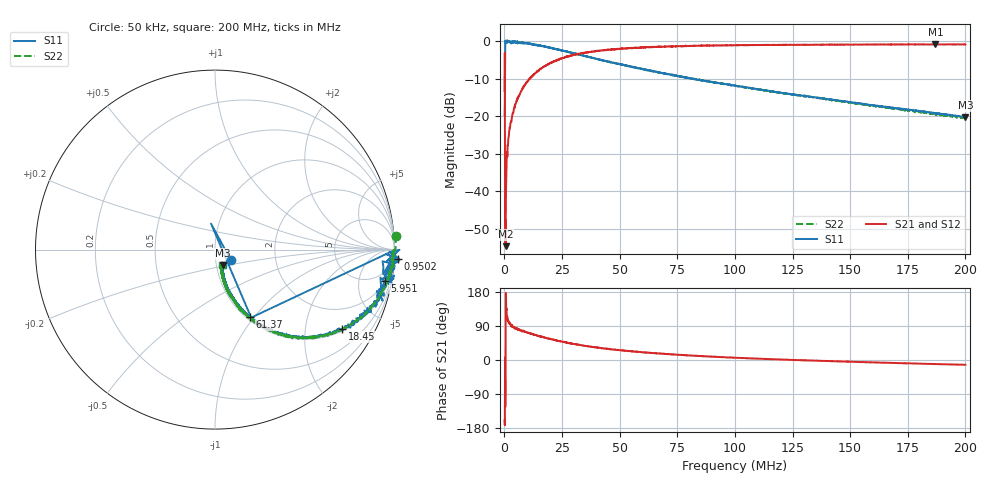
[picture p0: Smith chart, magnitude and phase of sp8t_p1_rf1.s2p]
! 26-Feb-26 11:20:10 AM
! E:\VNA_MEASUREMENTS\SP8T\SP8T_P1_RF1.S2P
! CHANNEL.1
! TR.MEASUREMENT
! CORRECTED.DATA
# GHZ S RI R 50.0
! FREQ.GHZ  S11RE  S11IM  S21RE  S21IM  S12RE  S12IM  S22RE  S22IM
!; PortSelection: Port_12
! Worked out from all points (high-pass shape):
!   2000 points, 50 kHz to 200 MHz, reference 50 ohm
!   highest |S21| = -0.78 dB at 187 MHz (marker M1); lowest = -54.7 dB at 450.1 kHz (marker M2)
!   |S21| within 3 dB of the highest: 29.09 MHz to 29.43 MHz (343.5 kHz wide, 1.17 % of centre); 29.49 MHz to end of sweep (the widest 2 of 4)
!   lowest |S11| = -20.3 dB at 200 MHz (marker M3), VSWR 1.21, Z = 53.5 - j9.41 ohm
!   |S11| at or under -10 dB: start of sweep to 221.8 kHz; 82.01622 MHz to 82.26381 MHz (247.6 kHz wide, 0.301 % of centre); 82.27 MHz to end of sweep (the widest 3 of 5)
!   |S22| runs from -20.6 to 0.1 dB; largest |S21 - S12| = 0.71
!   S11 on the Smith chart (normalised r, x): 50 kHz: 1.18, -0.13; 950.2 kHz: -13, -33; 5.951 MHz: 2, -10; 18.45 MHz: 1.08, -3.15; 61.37 MHz: 1.04, -0.95; 200 MHz: 1.07, -0.19
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5e-05  0.0871 -0.0563  -0.2042 -0.0771  0.00036 0.00197  1.006 0.0772
0.0004501  1.028 -0.00117  1.66e-05 -0.00185  -0.00325 0.00992  1.001 -0.00719
0.000950225  1.02 -0.0544  -0.0138 0.0236  -0.00232 0.0264  0.9889 -0.0362
0.0012503  0.9724 -0.0114  -0.0119 0.0263  -0.00278 0.0344  0.9917 -0.0499
0.001350325  1.027 -0.0614  -0.0139 0.0386  -0.00345 0.0378  0.9836 -0.0502
0.001750425  1.002 -0.0936  -0.0105 0.0509  -0.00264 0.0502  0.9862 -0.0627
0.0024506  0.9869 -0.0804  -0.00573 0.0726  -0.000877 0.0732  0.998 -0.0913
0.003950975  0.9696 -0.1408  0.00762 0.1157  0.00788 0.1178  0.9742 -0.1284
0.005951476  0.9444 -0.173  0.0245 0.1765  0.0261 0.1762  0.9498 -0.1887
0.008552126  0.9269 -0.2612  0.0671 0.2491  0.0659 0.2464  0.9112 -0.2617
0.01095273  0.8783 -0.3098  0.1041 0.3052  0.1054 0.3013  0.8663 -0.3214
0.0184546  0.7073 -0.4418  0.2641 0.4064  0.258 0.4095  0.7159 -0.4426
0.0244561  0.5906 -0.4725  0.3811 0.4447  0.3904 0.4454  0.5884 -0.4802
0.03345835  0.4385 -0.4804  0.5418 0.4327  0.5386 0.4321  0.4339 -0.4889
0.04576143  0.2994 -0.4426  0.6778 0.3789  0.6768 0.3736  0.292 -0.4475
0.06136533  0.1954 -0.3764  0.7923 0.2882  0.7832 0.2872  0.1819 -0.3718
0.06676668  0.1656 -0.35  0.806 0.2547  0.8073 0.2546  0.1604 -0.3523
0.100075  0.0832 -0.2434  0.8849 0.0898  0.8832 0.09  0.0772 -0.2463
0.1333833  0.055 -0.1729  0.9007 -0.0223  0.8996 -0.0198  0.0492 -0.1737
0.1666917  0.0448 -0.1249  0.8996 -0.1195  0.9025 -0.1199  0.0369 -0.1252
0.1869967  0.0424 -0.1015  0.8991 -0.1677  0.8924 -0.1707  0.0363 -0.1029
0.2  0.042 -0.0871  0.8849 -0.1969  0.8862 -0.2016  0.0379 -0.0877
